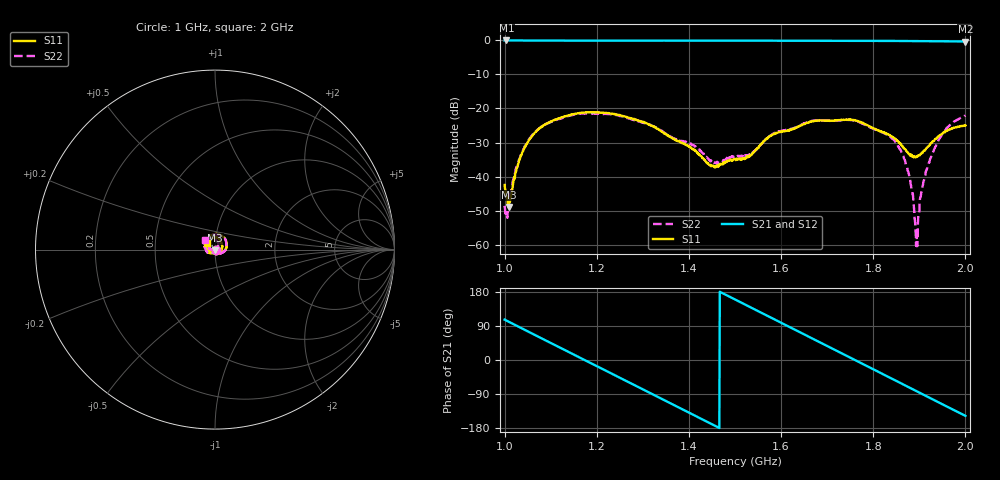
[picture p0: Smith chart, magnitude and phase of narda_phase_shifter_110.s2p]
#  HZ  S  DB  R  50.00
! Rohde & Schwarz Vector Network Analyzer
! Rohde-Schwarz,ZNB8-4Port,1311601044102961,2.82
! Created: UTC 3/4/2022, 4:06:39 PM
! freq[Hz]  db:S11  ang:S11  db:S21  ang:S21  db:S12  ang:S12  db:S22  ang:S22
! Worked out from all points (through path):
!   1001 points, 1 GHz to 2 GHz, reference 50 ohm
!   highest |S21| = -0.15 dB at 1.004 GHz (marker M1); lowest = -0.5 dB at 2 GHz (marker M2)
!   group delay of S21, straight-line fit = 1.71 ns
!   lowest |S11| = -48.8 dB at 1.009 GHz (marker M3), VSWR 1.01, Z = 50 - j0.359 ohm
!   |S11| at or under -10 dB: start of sweep to end of sweep
!   |S22| runs from -60.3 to -21.5 dB; largest |S21 - S12| = 0.0024
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1e9  -42.41 -17.1  -0.16 106.5  -0.15 106.5  -48.50 -14.8
1.004e9  -45.48 -38.9  -0.15 104.1  -0.15 104.0  -51.41 -68.9
1.009e9  -48.83 -82.5  -0.15 101.0  -0.15 100.9  -48.72 -126.2
1.029e9  -36.41 -164.1  -0.16 88.6  -0.15 88.7  -36.14 178.9
1.058e9  -28.36 168.0  -0.17 70.8  -0.16 70.8  -28.10 157.2
1.116e9  -23.00 126.9  -0.19 35.2  -0.18 35.2  -23.22 123.2
1.167e9  -21.30 92.0  -0.20 4.0  -0.21 4.0  -21.50 93.0
1.212e9  -21.27 65.6  -0.21 -23.5  -0.20 -23.5  -21.63 62.4
1.261e9  -22.40 32.0  -0.20 -53.5  -0.20 -53.6  -22.63 33.2
1.334e9  -26.15 -13.1  -0.21 -98.3  -0.19 -98.3  -26.01 -14.9
1.423e9  -33.44 -62.0  -0.20 -152.9  -0.19 -152.9  -32.04 -79.5
1.458e9  -37.24 -81.1  -0.21 -174.5  -0.20 -174.4  -35.98 -103.2
1.5e9  -34.87 -101.3  -0.21 159.8  -0.21 159.8  -34.18 -114.5
1.588e9  -27.38 -162.7  -0.23 105.8  -0.22 105.7  -27.19 -157.3
1.667e9  -23.83 144.5  -0.24 57.2  -0.23 57.2  -23.69 156.7
1.752e9  -23.29 82.8  -0.27 5.0  -0.26 5.1  -23.41 107.9
1.834e9  -27.73 13.3  -0.29 -45.3  -0.29 -45.3  -28.03 61.3
1.872e9  -32.53 -41.0  -0.30 -68.7  -0.29 -68.7  -36.69 40.2
1.895e9  -34.04 -93.5  -0.32 -82.9  -0.31 -82.9  -60.30 -95.2
1.909e9  -32.44 -121.0  -0.32 -91.5  -0.33 -91.5  -41.32 -161.7
1.933e9  -29.23 -153.1  -0.35 -106.3  -0.35 -106.3  -31.76 173.8
2e9  -25.02 140.7  -0.46 -147.4  -0.46 -147.4  -22.09 135.7
